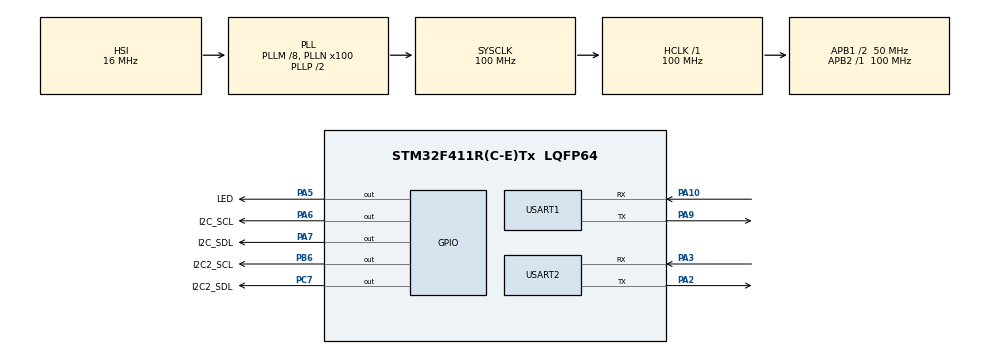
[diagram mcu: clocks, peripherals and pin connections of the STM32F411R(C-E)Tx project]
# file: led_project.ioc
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Dma.Request0=USART1_RX
Dma.Request1=USART2_RX
Dma.USART1_RX.0.Direction=DMA_PERIPH_TO_MEMORY
Dma.USART1_RX.0.FIFOMode=DMA_FIFOMODE_DISABLE
Dma.USART1_RX.0.Instance=DMA2_Stream2
Dma.USART1_RX.0.MemDataAlignment=DMA_MDATAALIGN_BYTE
Dma.USART1_RX.0.MemInc=DMA_MINC_ENABLE
Dma.USART1_RX.0.Mode=DMA_NORMAL
Dma.USART1_RX.0.PeriphDataAlignment=DMA_PDATAALIGN_BYTE
Dma.USART1_RX.0.PeriphInc=DMA_PINC_DISABLE
Dma.USART1_RX.0.Priority=DMA_PRIORITY_LOW
Dma.USART2_RX.1.Direction=DMA_PERIPH_TO_MEMORY
Dma.USART2_RX.1.FIFOMode=DMA_FIFOMODE_DISABLE
Dma.USART2_RX.1.Instance=DMA1_Stream5
Dma.USART2_RX.1.MemDataAlignment=DMA_MDATAALIGN_BYTE
Dma.USART2_RX.1.MemInc=DMA_MINC_ENABLE
Dma.USART2_RX.1.Mode=DMA_NORMAL
Dma.USART2_RX.1.PeriphDataAlignment=DMA_PDATAALIGN_BYTE
Dma.USART2_RX.1.PeriphInc=DMA_PINC_DISABLE
Dma.USART2_RX.1.Priority=DMA_PRIORITY_LOW
Mcu.Family=STM32F4
Mcu.Name=STM32F411R(C-E)Tx
Mcu.Package=LQFP64
NVIC.DMA1_Stream5_IRQn=true\:0\:0\:false\:false\:true\:false\:true\:true
NVIC.DMA2_Stream2_IRQn=true\:0\:0\:false\:false\:true\:false\:true\:true
NVIC.PriorityGroup=NVIC_PRIORITYGROUP_4
NVIC.TIM1_UP_TIM10_IRQn=true\:15\:0\:false\:false\:true\:false\:true\:true
NVIC.TIM4_IRQn=true\:0\:0\:false\:false\:true\:true\:true\:true
NVIC.TimeBase=TIM1_UP_TIM10_IRQn
NVIC.TimeBaseIP=TIM1
NVIC.USART1_IRQn=true\:0\:0\:false\:false\:true\:true\:true\:true
NVIC.USART2_IRQn=true\:0\:0\:false\:false\:true\:true\:true\:true
PA10.Mode=Asynchronous
PA10.Signal=USART1_RX
PA13.Mode=Serial_Wire
PA13.Signal=SYS_JTMS-SWDIO
PA14.Mode=Serial_Wire
PA14.Signal=SYS_JTCK-SWCLK
PA2.Mode=Asynchronous
PA2.Signal=USART2_TX
PA3.Mode=Asynchronous
PA3.Signal=USART2_RX
PA5.GPIO_Label=LED
PA5.Signal=GPIO_Output
PA6.GPIO_Label=I2C_SCL
PA6.Signal=GPIO_Output
PA7.GPIO_Label=I2C_SDL
PA7.Signal=GPIO_Output
PA9.Mode=Asynchronous
PA9.Signal=USART1_TX
PB6.GPIO_Label=I2C2_SCL
PB6.Signal=GPIO_Output
PC7.GPIO_Label=I2C2_SDL
PC7.Signal=GPIO_Output
ProjectManager.HeapSize=0x200
ProjectManager.StackSize=0x400
ProjectManager.TargetToolchain=MDK-ARM V5.32
RCC.48MHZClocksFreq_Value=50000000
RCC.AHBFreq_Value=100000000
RCC.APB1CLKDivider=RCC_HCLK_DIV2
RCC.APB1Freq_Value=50000000
RCC.APB1TimFreq_Value=100000000
RCC.APB2Freq_Value=100000000
RCC.APB2TimFreq_Value=100000000
RCC.CortexFreq_Value=100000000
RCC.HCLKFreq_Value=100000000
RCC.HSE_VALUE=25000000
RCC.HSI_VALUE=16000000
RCC.LSE_VALUE=32768
RCC.PLLM=8
RCC.PLLN=100
RCC.SYSCLKFreq_VALUE=100000000
RCC.SYSCLKSource=RCC_SYSCLKSOURCE_PLLCLK
RCC.VCOOutputFreq_Value=200000000
TIM4.Prescaler=99
USART1.VirtualMode=VM_ASYNC
USART2.VirtualMode=VM_ASYNC
VP_SYS_VS_tim1.Mode=TIM1
VP_TIM4_VS_ClockSourceINT.Mode=Internal
board=custom

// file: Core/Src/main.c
/* USER CODE BEGIN Header */
/**
  ******************************************************************************
  * @file           : main.c
  * @brief          : Main program body
  ******************************************************************************
  * @attention
  *
  * <h2><center>&copy; Copyright (c) 2022 STMicroelectronics.
  * All rights reserved.</center></h2>
  *
  * This software component is licensed by ST under BSD 3-Clause license,
  * the "License"; You may not use this file except in compliance with the
  * License. You may obtain a copy of the License at:
  *                        opensource.org/licenses/BSD-3-Clause
  *
  ******************************************************************************
  */
/* USER CODE END Header */
#include "main.h"
#include "dma.h"
#include "tim.h"
#include "usart.h"
#include "gpio.h"

/* USER CODE BEGIN Includes */
#include "delay.h"
#include "myi2c.h"
#include "TCS34725.h"
#include  "myusart.h"
#include "VL6180.h"
/* USER CODE END Includes */

/* USER CODE BEGIN PM */
int rx_flag;
uint16_t rx_length;
extern uint8_t rx_buf[buf_length];
uint8_t ex_Range;
/* USER CODE END PM */

/* USER CODE BEGIN PV */
uint16_t r,g,b,c;
uint8_t tr,tg,tb;
uint8_t test_code;
/* USER CODE END PV */

void SystemClock_Config(void);

int main(void)
{

  /* MCU Configuration--------------------------------------------------------*/

  /* Reset of all peripherals, Initializes the Flash interface and the Systick. */
  HAL_Init();

  /* Configure the system clock */
  SystemClock_Config();

  /* Initialize all configured peripherals */
  MX_GPIO_Init();
  MX_DMA_Init();
  MX_TIM4_Init();
  MX_USART1_UART_Init();
  MX_USART2_UART_Init();
  /* USER CODE BEGIN 2 */
	delay_init();
	myi2c_init();
	usart_init();
	//颜色传感器
	I2C_Init(hi2c1);
	TCS34725_Init();
	TCS34725_Setup();
	TCS34725_Enable();

	//距离传感器
	I2C_Init(hi2c2);
	Print("\r\nVL6180X测距实验\r\n");
	if(VL6180X_Init() == 0)	Print("\r\nVL6180X初始化成功！\r\n");
	test_code = VL6180X_Read_ID();
	delay_ms(2000);
  /* USER CODE END 2 */

  /* Infinite loop */
  while (1)
  {

    /* USER CODE BEGIN 3 */
        TCS34725_GetRawData(&r, &g, &b, &c);
        tr=r*255/c;tg=g*255/c;tb=b*255/c;
        ex_Range = VL6180X_Read_Range();
        Print("\r\n Current Range:%d mm,r:%d,g:%d.b:%d",ex_Range,tr,tg,tb);
        if(rx_flag){
            //处理接收到的字符串内容
            Print("%s\n",rx_buf);
            for(int i = 0 ;i<rx_length;i++){
            rx_buf[i]=0;
            }
            rx_flag=0;
            HAL_UART_Receive_DMA(&huart1, rx_buf, buf_length);//开启下一次的DMA接收1

        }
delay_ms(100);
  }
  /* USER CODE END 3 */
}

void SystemClock_Config(void)
{
  RCC_OscInitTypeDef RCC_OscInitStruct = {0};
  RCC_ClkInitTypeDef RCC_ClkInitStruct = {0};

  /** Configure the main internal regulator output voltage
  */
  __HAL_RCC_PWR_CLK_ENABLE();
  __HAL_PWR_VOLTAGESCALING_CONFIG(PWR_REGULATOR_VOLTAGE_SCALE1);
  /** Initializes the RCC Oscillators according to the specified parameters
  * in the RCC_OscInitTypeDef structure.
  */
  RCC_OscInitStruct.OscillatorType = RCC_OSCILLATORTYPE_HSI;
  RCC_OscInitStruct.HSIState = RCC_HSI_ON;
  RCC_OscInitStruct.HSICalibrationValue = RCC_HSICALIBRATION_DEFAULT;
  RCC_OscInitStruct.PLL.PLLState = RCC_PLL_ON;
  RCC_OscInitStruct.PLL.PLLSource = RCC_PLLSOURCE_HSI;
  RCC_OscInitStruct.PLL.PLLM = 8;
  RCC_OscInitStruct.PLL.PLLN = 100;
  RCC_OscInitStruct.PLL.PLLP = RCC_PLLP_DIV2;
  RCC_OscInitStruct.PLL.PLLQ = 4;
  if (HAL_RCC_OscConfig(&RCC_OscInitStruct) != HAL_OK)
  {
    Error_Handler();
  }
  /** Initializes the CPU, AHB and APB buses clocks
  */
  RCC_ClkInitStruct.ClockType = RCC_CLOCKTYPE_HCLK|RCC_CLOCKTYPE_SYSCLK
                              |RCC_CLOCKTYPE_PCLK1|RCC_CLOCKTYPE_PCLK2;
  RCC_ClkInitStruct.SYSCLKSource = RCC_SYSCLKSOURCE_PLLCLK;
  RCC_ClkInitStruct.AHBCLKDivider = RCC_SYSCLK_DIV1;
  RCC_ClkInitStruct.APB1CLKDivider = RCC_HCLK_DIV2;
  RCC_ClkInitStruct.APB2CLKDivider = RCC_HCLK_DIV1;

  if (HAL_RCC_ClockConfig(&RCC_ClkInitStruct, FLASH_LATENCY_3) != HAL_OK)
  {
    Error_Handler();
  }
}

void HAL_TIM_PeriodElapsedCallback(TIM_HandleTypeDef *htim)
{
  if (htim->Instance == TIM1) {
    HAL_IncTick();
  }
}

void Error_Handler(void)
{
  __disable_irq();
  while (1)
  {
  }
}

/************************ (C) COPYRIGHT STMicroelectronics *****END OF FILE****/
